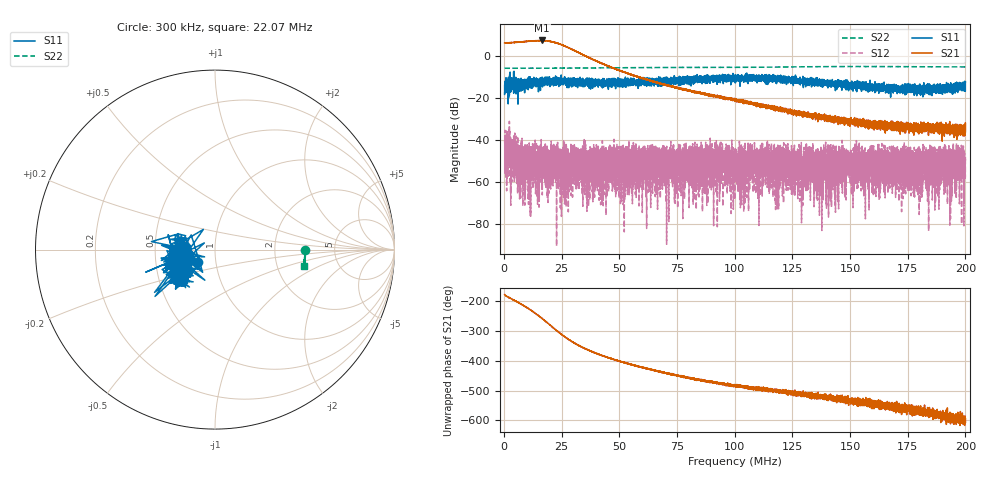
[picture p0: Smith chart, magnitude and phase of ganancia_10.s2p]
# Hz S DB R 50
! CMT, M5065, 19127446, 24.2.4/2
! Date: 11/8/2024 2:49:03 PM
! Data: Format (Calibration Info)
! Freq	S11:dB/Ang(F2)	S21:dB/Ang(F2)	S12:dB/Ang(F2)	S22:dB/Ang(F2)
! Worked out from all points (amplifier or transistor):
!   9000 points, 300 kHz to 200 MHz, reference 50 ohm
!   highest |S21| = 7.2 dB at 16.57 MHz (marker M1)
!   |S21| within 3 dB of that: start of sweep to 27.05 MHz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
!   unconditionally stable (mu >= 1): start of sweep to end of sweep
!   at 33.59 MHz: K = 120.05, MAG = 2.2 dB, |S12| = -51.3 dB
!   at 100.2 MHz: K = 1489.60, MAG = -20.0 dB, |S12| = -51.3 dB
!   at 200 MHz: K = 6774.95, MAG = -34.5 dB, |S12| = -49.9 dB
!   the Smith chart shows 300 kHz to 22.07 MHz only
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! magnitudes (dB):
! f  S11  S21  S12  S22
! 300 kHz  -18.4  6.1  -40.3  -6.0
! 8.422 MHz  -12.3  6.7  -48.0  -6.0
! 16.57 MHz  -10.2  7.2  -61.3  -6.0
! 20.01 MHz  -12.4  6.8  -60.7  -6.0
! 21.32 MHz  -13.6  6.4  -47.3  -5.9
! 33.59 MHz  -13.4  0.7  -51.3  -5.9
! 42.51 MHz  -11.4  -3.8  -55.3  -5.8
! 45.93 MHz  -12.5  -5.2  -59.0  -5.8
! 52.34 MHz  -12.6  -8.0  -68.4  -5.7
! 66.87 MHz  -11.9  -13.0  -56.6  -5.7
! 100.2 MHz  -10.8  -21.8  -51.3  -5.6
! 102.1 MHz  -10.5  -20.9  -47.6  -5.6
! 107.7 MHz  -10.6  -22.9  -51.2  -5.5
! 110.2 MHz  -11.1  -23.3  -51.5  -5.5
! 113.4 MHz  -11.4  -23.8  -50.2  -5.5
! 129.9 MHz  -10.9  -26.9  -55.0  -5.3
! 133.4 MHz  -12.7  -28.1  -53.3  -5.3
! 144.7 MHz  -14.1  -30.3  -56.3  -5.2
! 149.6 MHz  -15.3  -32.3  -53.3  -5.2
! 166.7 MHz  -13.7  -33.8  -55.8  -5.2
! 193.2 MHz  -15.2  -32.9  -45.4  -5.3
! 200 MHz  -12.4  -36.2  -49.9  -5.3
